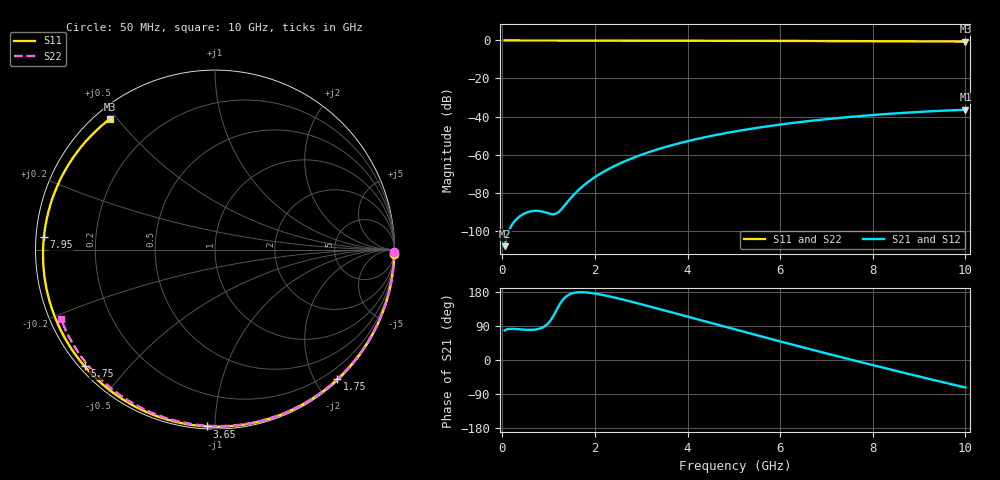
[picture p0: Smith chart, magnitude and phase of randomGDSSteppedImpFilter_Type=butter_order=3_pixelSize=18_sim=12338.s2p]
! freq	dB(S11)	phase(S11)	dB(S12)	phase(S12)
!  dB(S21)	phase(S21)	dB(S22)	phase(S22)
!S-par simulation data
#  GHz  S  DB  R 50
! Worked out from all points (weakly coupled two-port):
!   200 points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, 50 MHz to 10 GHz, reference 50 ohm
!   highest |S21| = -36.44 dB at 10 GHz (marker M1); lowest = -108.2 dB at 50 MHz (marker M2)
!   lowest |S11| = -0.6 dB at 10 GHz (marker M3), VSWR 29.39, Z = 2.09 + j23.8 ohm
!   |S11| at or under -10 dB: nowhere
!   |S22| runs from -0.5 to 0.0 dB; largest |S21 - S12| = 0
!   S11 on the Smith chart (normalised r, x): 50 MHz: 2, -87; 1.75 GHz: 0.02, -2.32; 3.65 GHz: 0.01, -0.95; 5.75 GHz: 0.01, -0.38; 7.95 GHz: 0.02, +0.04; 10 GHz: 0.04, +0.48
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0.05  -0.01 -1.3  -108.17 78.0  -108.17 78.0  -0.00 -0.9
0.4  -0.02 -10.9  -92.09 80.7  -92.09 80.7  -0.01 -7.2
0.75  -0.03 -20.3  -89.62 81.2  -89.62 81.2  -0.02 -13.5
1.15  -0.04 -31.0  -91.19 126.7  -91.19 126.7  -0.03 -20.6
1.55  -0.05 -41.4  -81.00 177.2  -81.00 177.2  -0.04 -27.6
1.6  -0.05 -42.7  -79.75 178.2  -79.75 178.2  -0.04 -28.5
1.75  -0.06 -46.6  -76.42 178.8  -76.42 178.8  -0.04 -31.1
2.05  -0.07 -54.2  -71.09 174.4  -71.09 174.4  -0.05 -36.3
2.45  -0.08 -64.2  -65.70 164.0  -65.70 164.0  -0.06 -43.1
2.9  -0.09 -75.2  -61.02 150.3  -61.02 150.3  -0.07 -50.7
3.4  -0.11 -87.0  -56.91 134.2  -56.91 134.2  -0.08 -59.0
3.65  -0.12 -92.7  -55.16 125.9  -55.16 125.9  -0.09 -63.0
4.35  -0.15 -108.4  -51.02 102.8  -51.02 102.8  -0.11 -74.2
5.05  -0.18 -123.5  -47.74 79.8  -47.74 79.8  -0.13 -85.0
5.75  -0.22 -138.2  -45.07 57.1  -45.07 57.1  -0.16 -95.5
6.25  -0.25 -148.6  -43.45 41.0  -43.45 41.0  -0.19 -102.9
6.7  -0.29 -157.9  -42.17 26.8  -42.17 26.8  -0.21 -109.4
7.35  -0.34 -171.4  -40.57 6.5  -40.57 6.5  -0.26 -118.6
7.95  -0.39 175.9  -39.31 -12.0  -39.31 -12.0  -0.31 -127.0
8.35  -0.43 167.2  -38.58 -24.1  -38.58 -24.1  -0.34 -132.6
9.15  -0.51 149.2  -37.38 -47.9  -37.38 -47.9  -0.42 -143.8
10  -0.59 128.9  -36.44 -72.5  -36.44 -72.5  -0.52 -155.8
